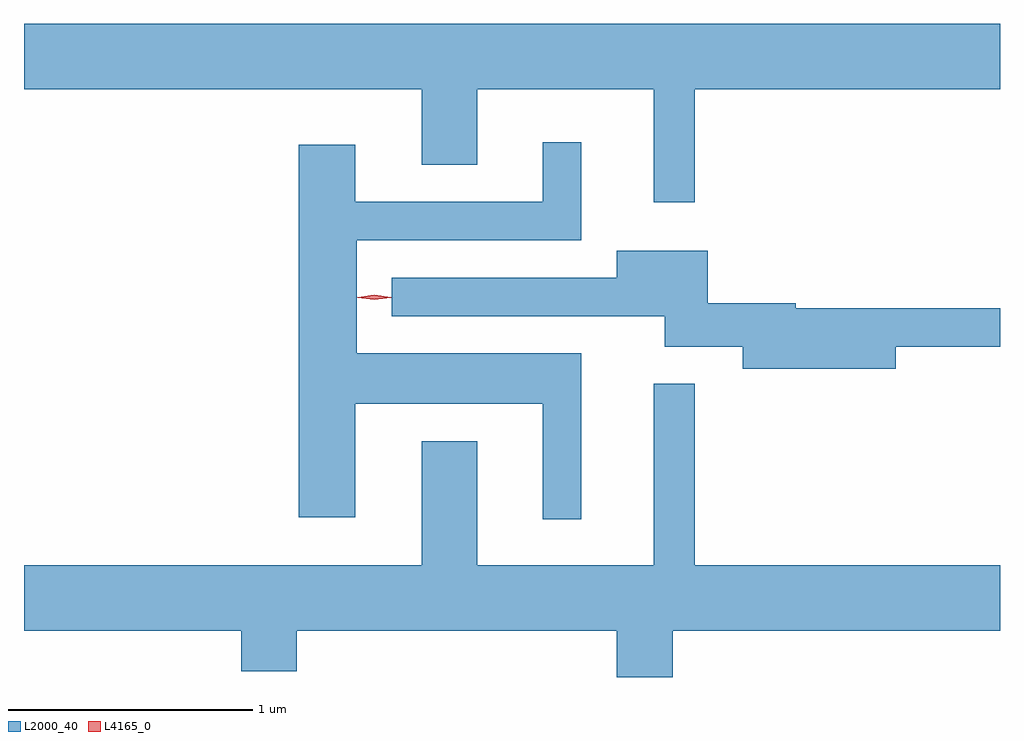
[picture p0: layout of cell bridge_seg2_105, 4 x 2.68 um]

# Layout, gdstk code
import gdstk
lib = gdstk.Library(unit=1e-6, precision=1e-09)
def P(c, l, *ps):  # polygons
    for p in ps: c.add(gdstk.Polygon(p, *l))
L2000_40 = (2000, 40)
L4165_0 = (4165, 0)

bridge_seg2_105 = lib.new_cell('bridge_seg2_105')
P(bridge_seg2_105, L2000_40, [(882.919,1077.176),(884.171,1077.176),(884.171,1077.444),(880.171,1077.444),(880.171,1077.176),(881.801,1077.176),(881.801,1076.866),(882.029,1076.866),(882.029,1077.176),(882.751,1077.176),(882.751,1076.713),(882.919,1076.713)],
  [(882.454,1076.094),(881.534,1076.094),(881.534,1076.556),(882.454,1076.556),(882.454,1076.958),(882.296,1076.958),(882.296,1076.714),(881.529,1076.714),(881.529,1076.949),(881.296,1076.949),(881.296,1075.421),(881.529,1075.421),(881.529,1075.886),(882.296,1075.886),(882.296,1075.413),(882.454,1075.413)],
  [(883.744,1076.121),(884.171,1076.121),(884.171,1076.279),(883.334,1076.279),(883.334,1076.299),(882.974,1076.299),(882.974,1076.514),(882.601,1076.514),(882.601,1076.404),(881.678,1076.404),(881.678,1076.246),(882.796,1076.246),(882.796,1076.121),(883.116,1076.121),(883.116,1076.031),(883.744,1076.031)],
  [(882.829,1074.956),(884.171,1074.956),(884.171,1075.224),(882.919,1075.224),(882.919,1075.968),(882.751,1075.968),(882.751,1075.224),(882.029,1075.224),(882.029,1075.734),(881.801,1075.734),(881.801,1075.224),(880.171,1075.224),(880.171,1074.956),(881.061,1074.956),(881.061,1074.791),(881.289,1074.791),(881.289,1074.956),(882.601,1074.956),(882.601,1074.766),(882.829,1074.766)])
P(bridge_seg2_105, L4165_0, [(881.607,1076.313),(881.538,1076.322),(881.537,1076.323),(881.538,1076.323),(881.607,1076.333),(881.676,1076.323),(881.676,1076.323),(881.676,1076.322)],
  [(881.607,1076.313),(881.541,1076.322),(881.54,1076.323),(881.541,1076.323),(881.607,1076.333),(881.672,1076.323),(881.673,1076.323),(881.672,1076.322)])

lib.write_gds('bridge_seg2_105.gds')
